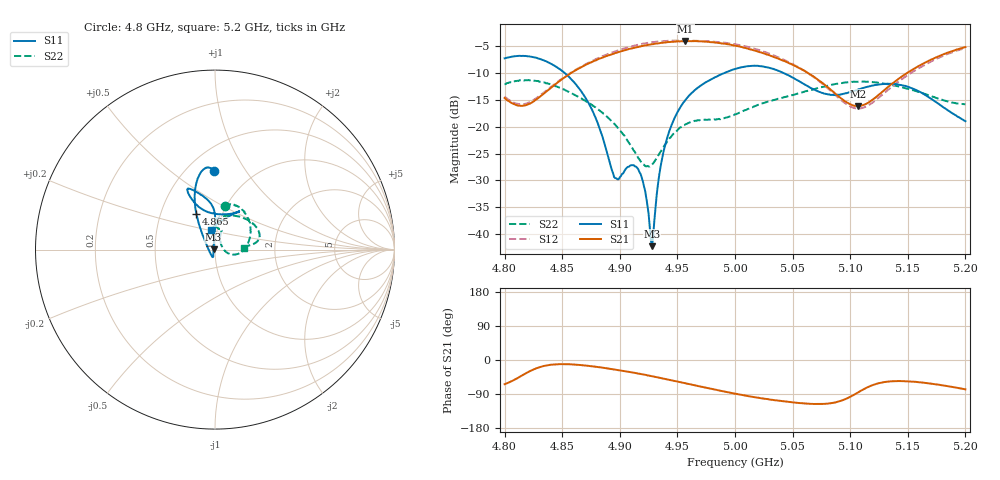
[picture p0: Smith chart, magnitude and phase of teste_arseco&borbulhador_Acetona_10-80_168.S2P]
! Network Analyzer HP8722D
! Hewlett-Packard
! Data name: Linha & Wilkinson
! Saver's name: Rodrigo Anjos
! Comments: Teste da utilização de aquisição
! continua pelo VNA HP8722D
! Time and date: 25/4/2025 16:40
!  Frequency  S11  S21  S12  S22
# HZ  S  MA R 50
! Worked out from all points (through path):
!   401 points, 4.8 GHz to 5.2 GHz, reference 50 ohm
!   highest |S21| = -3.98 dB at 4.957 GHz (marker M1); lowest = -16.2 dB at 5.107 GHz (marker M2)
!   lowest |S11| = -42.3 dB at 4.928 GHz (marker M3), VSWR 1.02, Z = 49.2 + j0.0626 ohm
!   |S11| at or under -10 dB: 4.852 GHz to 4.99 GHz (138 MHz wide, 2.8 % of centre); 5.043 GHz to end of sweep
!   |S22| runs from -27.4 to -11.3 dB; largest |S21 - S12| = 1.2
!   S11 on the Smith chart (normalised r, x): 4.8 GHz: 0.67, +0.72; 4.865 GHz: 0.75, +0.32; 5.2 GHz: 0.94, +0.21
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4.8e9  0.4356 90.9  0.1857 -63.8  0.1907 69.6  0.2495 77.1
4.82e9  0.4547 97.2  0.161 -32.5  0.1666 98.3  0.272 61.9
4.845e9  0.3615 107.5  0.2541 -11.2  0.2579 119.4  0.2381 34.4
4.865e9  0.2258 117.4  0.3526 -13.0  0.3564 121.0  0.1883 11.2
4.867e9  0.2105 118.5  0.3626 -13.8  0.3671 120.7  0.183 8.9
4.88e9  0.1138 128.8  0.4216 -18.3  0.4324 118.3  0.1481 -5.0
4.896e9  0.03315 -168.9  0.4889 -25.1  0.5059 113.3  0.1045 -15.6
4.91e9  0.04374 -107.9  0.5375 -32.5  0.5622 107.4  0.06494 -13.3
4.917e9  0.03776 -104.7  0.5603 -36.2  0.5886 103.6  0.04954 -0.3
4.922e9  0.02517 -110.4  0.5751 -39.1  0.601 100.8  0.04303 15.9
4.926e9  0.01154 -135.8  0.5847 -41.6  0.6107 98.4  0.04245 32.9
4.928e9  0.007666 175.2  0.5905 -42.9  0.6167 97.1  0.04442 40.6
4.934e9  0.03406 100.4  0.6017 -46.6  0.6286 93.4  0.05543 57.8
4.943e9  0.09119 91.3  0.618 -52.3  0.6353 87.5  0.07774 68.3
4.957e9  0.1782 89.6  0.6326 -61.4  0.6388 78.7  0.1054 71.1
5e9  0.3466 109.2  0.5724 -89.0  0.5908 51.0  0.131 88.2
5.03e9  0.3547 115.3  0.4643 -104.1  0.4813 33.7  0.1727 85.4
5.067e9  0.2274 105.7  0.3009 -115.7  0.2981 23.6  0.2217 57.3
5.107e9  0.2233 64.5  0.1557 -85.3  0.1477 57.8  0.2635 24.3
5.134e9  0.2514 57.8  0.2403 -56.6  0.2258 88.7  0.2486 12.5
5.169e9  0.1866 70.5  0.4171 -62.0  0.401 84.9  0.1953 6.9
5.2e9  0.1126 100.8  0.5548 -77.5  0.5436 70.4  0.1621 3.8
